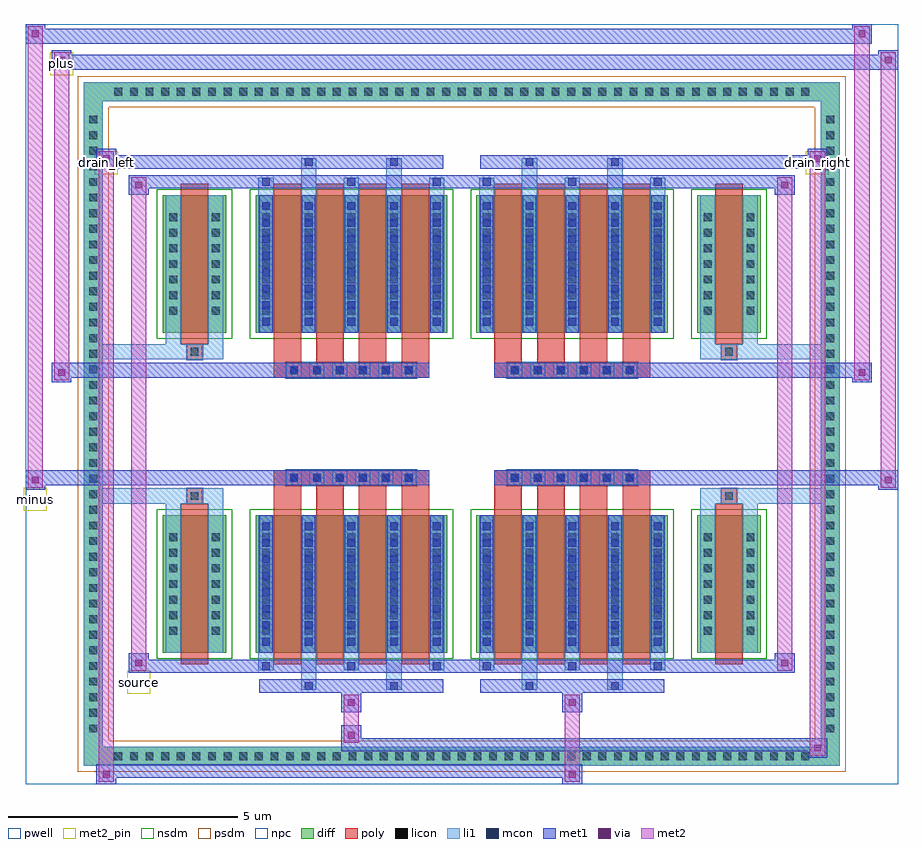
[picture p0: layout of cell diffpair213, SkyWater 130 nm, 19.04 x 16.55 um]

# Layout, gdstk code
import gdstk
lib = gdstk.Library(unit=1e-6, precision=5e-09)
def R(c, l, rs):  # rectangles x0, y0, x1, y1
    for r in rs: c.add(gdstk.rectangle(r[:2], r[2:], *l))
def A(c, l, x, y, w, h, nx, ny, dx, dy):  # array of equal rectangles
    R(c, l, [(x+i*dx, y+j*dy, x+i*dx+w, y+j*dy+h) for i in range(nx) for j in range(ny)])
def P(c, l, *ps):  # polygons
    for p in ps: c.add(gdstk.Polygon(p, *l))
pwell = (64, 44)
diff = (65, 20)
poly = (66, 20)
licon = (66, 44)
li1 = (67, 20)
mcon = (67, 44)
met1 = (68, 20)
via = (68, 44)
met2_pin = (69, 16)
met2 = (69, 20)
nsdm = (93, 44)
psdm = (94, 20)
npc = (95, 20)

diffpair213 = lib.new_cell('diffpair213')
R(diffpair213, pwell, [(-9.5,-7.84,9.5,8.71), (-6.82,-6.03,-0.01,-0.805), (0.01,-6.03,6.82,-0.805), (-6.82,0.805,-0.01,6.03), (0.01,0.805,6.82,6.03)])
A(diffpair213, diff, -7.685, -7.44, 0.41, 0.41, 45, 2, 0.34, 14.47)
A(diffpair213, diff, -8.23, -6.835, 0.41, 0.41, 1, 40, 0, 0.34)
A(diffpair213, diff, 7.82, -6.835, 0.41, 0.41, 1, 40, 0, 0.34)
R(diffpair213, diff, [(-7.685,-7.44,7.685,-7.03), (-8.23,-6.835,-7.82,6.835), (7.82,-6.835,8.23,6.835), (-6.51,-4.985,-5.13,-1.985), (-4.49,-4.985,-0.32,-1.985), (0.32,-4.985,4.49,-1.985), (5.13,-4.985,6.51,-1.985), (-6.51,1.985,-5.13,4.985), (-4.49,1.985,-0.32,4.985), (0.32,1.985,4.49,4.985), (5.13,1.985,6.51,4.985), (-7.685,7.03,7.685,7.44)])
P(diffpair213, diff, [(8.23,7.44),(-8.23,7.44),(-8.23,-7.03),(-7.82,-7.03),(-7.82,7.03),(7.82,7.03),(7.82,-7.03),(-7.82,-7.03),(-8.23,-7.03),(-8.23,-7.44),(8.23,-7.44)])
A(diffpair213, poly, -4.1, -5.235, 0.6, 3.5, 4, 2, 0.93, 6.97)
A(diffpair213, poly, 0.71, -5.235, 0.6, 3.5, 4, 2, 0.93, 6.97)
A(diffpair213, poly, -4.1, -1.735, 0.6, 0.4, 4, 2, 0.93, 3.07)
A(diffpair213, poly, 0.71, -1.735, 0.6, 0.4, 4, 2, 0.93, 3.07)
A(diffpair213, poly, -3.82, -1.335, 0.33, 0.33, 6, 2, 0.5, 2.34)
A(diffpair213, poly, 0.99, -1.335, 0.33, 0.33, 6, 2, 0.5, 2.34)
R(diffpair213, poly, [(-6.12,-5.235,-5.52,-1.735), (5.52,-5.235,6.12,-1.735), (-5.985,-1.735,-5.655,-1.405), (-5.985,-1.735,-5.655,-1.405), (5.655,-1.735,5.985,-1.405), (5.655,-1.735,5.985,-1.405), (-4.1,-1.335,-0.71,-1.005), (0.71,-1.335,4.1,-1.005), (-4.1,1.005,-0.71,1.335), (0.71,1.005,4.1,1.335), (-5.985,1.405,-5.655,1.735), (-5.985,1.405,-5.655,1.735), (5.655,1.405,5.985,1.735), (5.655,1.405,5.985,1.735), (-6.12,1.735,-5.52,5.235), (5.52,1.735,6.12,5.235)])
A(diffpair213, licon, -7.565, -7.32, 0.17, 0.17, 45, 2, 0.34, 14.47)
A(diffpair213, licon, -8.11, -6.715, 0.17, 0.17, 1, 40, 0, 0.34)
A(diffpair213, licon, 7.94, -6.715, 0.17, 0.17, 1, 40, 0, 0.34)
A(diffpair213, licon, -6.37, -4.59, 0.17, 0.17, 1, 7, 0, 0.34)
A(diffpair213, licon, -5.44, -4.59, 0.17, 0.17, 1, 7, 0, 0.34)
A(diffpair213, licon, -4.35, -4.59, 0.17, 0.17, 5, 7, 0.93, 0.34)
A(diffpair213, licon, 0.46, -4.59, 0.17, 0.17, 5, 7, 0.93, 0.34)
A(diffpair213, licon, 5.27, -4.59, 0.17, 0.17, 1, 7, 0, 0.34)
A(diffpair213, licon, 6.2, -4.59, 0.17, 0.17, 1, 7, 0, 0.34)
A(diffpair213, licon, -3.74, -1.255, 0.17, 0.17, 6, 2, 0.5, 2.34)
A(diffpair213, licon, 1.07, -1.255, 0.17, 0.17, 6, 2, 0.5, 2.34)
A(diffpair213, licon, -6.37, 2.38, 0.17, 0.17, 1, 7, 0, 0.34)
A(diffpair213, licon, -5.44, 2.38, 0.17, 0.17, 1, 7, 0, 0.34)
A(diffpair213, licon, -4.35, 2.38, 0.17, 0.17, 5, 7, 0.93, 0.34)
A(diffpair213, licon, 0.46, 2.38, 0.17, 0.17, 5, 7, 0.93, 0.34)
A(diffpair213, licon, 5.27, 2.38, 0.17, 0.17, 1, 7, 0, 0.34)
A(diffpair213, licon, 6.2, 2.38, 0.17, 0.17, 1, 7, 0, 0.34)
R(diffpair213, licon, [(-5.905,-1.655,-5.735,-1.485), (5.735,-1.655,5.905,-1.485), (-5.905,1.485,-5.735,1.655), (5.735,1.485,5.905,1.655)])
A(diffpair213, li1, -7.645, -7.4, 0.33, 0.33, 45, 2, 0.34, 14.47)
A(diffpair213, li1, -8.19, -6.795, 0.33, 0.33, 1, 40, 0, 0.34)
A(diffpair213, li1, 7.86, -6.795, 0.33, 0.33, 1, 40, 0, 0.34)
A(diffpair213, li1, -4.43, -5.36, 0.33, 0.375, 3, 2, 1.86, 10.345)
A(diffpair213, li1, -4.35, -5.36, 0.17, 0.17, 3, 2, 1.86, 10.55)
A(diffpair213, li1, 0.38, -5.36, 0.33, 0.375, 3, 2, 1.86, 10.345)
A(diffpair213, li1, 0.46, -5.36, 0.17, 0.17, 3, 2, 1.86, 10.55)
A(diffpair213, li1, -4.43, -4.985, 0.33, 3, 5, 2, 0.93, 6.97)
A(diffpair213, li1, 0.38, -4.985, 0.33, 3, 5, 2, 0.93, 6.97)
A(diffpair213, li1, -4.35, -4.83, 0.17, 0.17, 5, 8, 0.93, 0.36)
A(diffpair213, li1, -4.35, -4.83, 0.17, 2.69, 5, 2, 0.93, 6.97)
A(diffpair213, li1, 0.46, -4.83, 0.17, 0.17, 5, 8, 0.93, 0.36)
A(diffpair213, li1, 0.46, -4.83, 0.17, 2.69, 5, 2, 0.93, 6.97)
A(diffpair213, li1, -6.45, -4.67, 0.33, 0.33, 1, 7, 0, 0.34)
A(diffpair213, li1, -5.52, -4.67, 0.33, 0.33, 1, 7, 0, 0.34)
A(diffpair213, li1, -4.43, -4.67, 0.33, 0.33, 5, 7, 0.93, 0.34)
A(diffpair213, li1, 0.38, -4.67, 0.33, 0.33, 5, 7, 0.93, 0.34)
A(diffpair213, li1, 5.19, -4.67, 0.33, 0.33, 1, 7, 0, 0.34)
A(diffpair213, li1, 6.12, -4.67, 0.33, 0.33, 1, 7, 0, 0.34)
A(diffpair213, li1, -3.82, -1.335, 0.33, 0.33, 6, 2, 0.5, 2.34)
A(diffpair213, li1, 0.99, -1.335, 0.33, 0.33, 6, 2, 0.5, 2.34)
A(diffpair213, li1, -4.35, 2.14, 0.17, 0.17, 5, 8, 0.93, 0.36)
A(diffpair213, li1, 0.46, 2.14, 0.17, 0.17, 5, 8, 0.93, 0.36)
A(diffpair213, li1, -6.45, 2.3, 0.33, 0.33, 1, 7, 0, 0.34)
A(diffpair213, li1, -5.52, 2.3, 0.33, 0.33, 1, 7, 0, 0.34)
A(diffpair213, li1, -4.43, 2.3, 0.33, 0.33, 5, 7, 0.93, 0.34)
A(diffpair213, li1, 0.38, 2.3, 0.33, 0.33, 5, 7, 0.93, 0.34)
A(diffpair213, li1, 5.19, 2.3, 0.33, 0.33, 1, 7, 0, 0.34)
A(diffpair213, li1, 6.12, 2.3, 0.33, 0.33, 1, 7, 0, 0.34)
R(diffpair213, li1, [(-8.23,-7.44,-7.82,-7.03), (-8.23,-7.44,-7.82,-7.03), (-7.82,-7.44,7.82,-7.03), (7.82,-7.44,8.23,-7.03), (7.82,-7.44,8.23,-7.03), (-8.23,-7.03,-7.82,7.03), (7.82,-7.03,8.23,7.03), (-3.5,-5.79,-3.17,-4.985), (-3.42,-5.79,-3.25,-5.62), (-1.64,-5.79,-1.31,-4.985), (-1.56,-5.79,-1.39,-5.62), (1.31,-5.79,1.64,-4.985), (1.39,-5.79,1.56,-5.62), (3.17,-5.79,3.5,-4.985), (3.25,-5.79,3.42,-5.62), (-6.45,-4.985,-6.12,-1.985), (-5.52,-4.985,-5.19,-1.985), (5.19,-4.985,5.52,-1.985), (6.12,-4.985,6.45,-1.985), (-6.45,-1.985,-6.12,-1.405), (-5.52,-1.985,-5.19,-1.405), (5.19,-1.985,5.52,-1.405), (6.12,-1.985,6.45,-1.405), (-8.23,-1.735,-5.985,-1.405), (-6.45,-1.735,-5.985,-1.405), (-5.985,-1.735,-5.655,-1.405), (-5.655,-1.735,-5.19,-1.405), (5.19,-1.735,5.655,-1.405), (5.655,-1.735,5.985,-1.405), (5.655,-1.735,8.23,-1.405), (5.985,-1.735,6.45,-1.405), (-8.23,1.405,-5.985,1.735), (-6.45,1.405,-5.985,1.735), (-6.45,1.405,-6.12,1.985), (-5.985,1.405,-5.655,1.735), (-5.655,1.405,-5.19,1.735), (-5.52,1.405,-5.19,1.985), (5.19,1.405,5.655,1.735), (5.19,1.405,5.52,1.985), (5.655,1.405,5.985,1.735), (5.655,1.405,8.23,1.735), (5.985,1.405,6.45,1.735), (6.12,1.405,6.45,1.985), (-6.45,1.985,-6.12,4.985), (-5.52,1.985,-5.19,4.985), (5.19,1.985,5.52,4.985), (6.12,1.985,6.45,4.985), (-3.5,4.985,-3.17,5.79), (-1.64,4.985,-1.31,5.79), (1.31,4.985,1.64,5.79), (3.17,4.985,3.5,5.79), (-3.42,5.62,-3.25,5.79), (-1.56,5.62,-1.39,5.79), (1.39,5.62,1.56,5.79), (3.25,5.62,3.42,5.79), (-8.23,7.03,-7.82,7.44), (-8.23,7.03,-7.82,7.44), (-7.82,7.03,7.82,7.44), (7.82,7.03,8.23,7.44), (7.82,7.03,8.23,7.44)])
A(diffpair213, mcon, -4.35, -5.36, 0.17, 0.17, 3, 2, 1.86, 10.55)
A(diffpair213, mcon, 0.46, -5.36, 0.17, 0.17, 3, 2, 1.86, 10.55)
A(diffpair213, mcon, -4.35, -4.83, 0.17, 0.17, 5, 8, 0.93, 0.36)
A(diffpair213, mcon, 0.46, -4.83, 0.17, 0.17, 5, 8, 0.93, 0.36)
A(diffpair213, mcon, -3.74, -1.255, 0.17, 0.17, 6, 2, 0.5, 2.34)
A(diffpair213, mcon, 1.07, -1.255, 0.17, 0.17, 6, 2, 0.5, 2.34)
A(diffpair213, mcon, -4.35, 2.14, 0.17, 0.17, 5, 8, 0.93, 0.36)
A(diffpair213, mcon, 0.46, 2.14, 0.17, 0.17, 5, 8, 0.93, 0.36)
R(diffpair213, mcon, [(-3.42,-5.79,-3.25,-5.62), (-1.56,-5.79,-1.39,-5.62), (1.39,-5.79,1.56,-5.62), (3.25,-5.79,3.42,-5.62), (-3.42,5.62,-3.25,5.79), (-1.56,5.62,-1.39,5.79), (1.39,5.62,1.56,5.79), (3.25,5.62,3.42,5.79)])
A(diffpair213, met1, -4.41, -5.42, 0.29, 0.29, 3, 2, 1.86, 10.55)
A(diffpair213, met1, 0.4, -5.42, 0.29, 0.29, 3, 2, 1.86, 10.55)
A(diffpair213, met1, -4.41, -4.985, 0.29, 3, 5, 2, 0.93, 6.97)
A(diffpair213, met1, 0.4, -4.985, 0.29, 3, 5, 2, 0.93, 6.97)
A(diffpair213, met1, -4.41, -4.89, 0.29, 0.29, 5, 8, 0.93, 0.36)
A(diffpair213, met1, 0.4, -4.89, 0.29, 0.29, 5, 8, 0.93, 0.36)
A(diffpair213, met1, -3.8, -1.315, 0.29, 0.29, 6, 2, 0.5, 2.34)
A(diffpair213, met1, 1.01, -1.315, 0.29, 0.29, 6, 2, 0.5, 2.34)
A(diffpair213, met1, -4.41, 2.08, 0.29, 0.29, 5, 8, 0.93, 0.36)
A(diffpair213, met1, 0.4, 2.08, 0.29, 0.29, 5, 8, 0.93, 0.36)
R(diffpair213, met1, [(-7.96,-7.84,-7.53,-7.41), (2.19,-7.84,2.62,-7.41), (-7.96,-7.7,2.62,-7.41), (7.53,-7.27,7.96,-6.84), (-2.62,-7.13,7.96,-6.84), (-2.62,-6.99,-2.19,-6.56), (-2.62,-6.28,-2.19,-5.85), (2.19,-6.28,2.62,-5.85), (-4.41,-5.85,-0.4,-5.56), (-3.48,-5.85,-3.19,-5.56), (-1.62,-5.85,-1.33,-5.56), (0.4,-5.85,4.41,-5.56), (1.33,-5.85,1.62,-5.56), (3.19,-5.85,3.48,-5.56), (-7.25,-5.42,-6.82,-4.99), (-7.25,-5.42,-4.41,-5.13), (-4.41,-5.42,-0.4,-5.13), (-0.4,-5.42,0.4,-5.13), (0.4,-5.42,4.41,-5.13), (4.41,-5.42,7.25,-5.13), (6.82,-5.42,7.25,-4.99), (-9.5,-1.435,-9.07,-1.005), (9.07,-1.435,9.5,-1.005), (-9.5,-1.335,-0.71,-1.005), (-4.1,-1.335,-0.71,-1.005), (0.71,-1.335,4.1,-1.005), (0.71,-1.335,9.5,-1.005), (-8.93,0.905,-8.5,1.335), (8.5,0.905,8.93,1.335), (-8.93,1.005,-4.1,1.335), (-4.1,1.005,-0.71,1.335), (0.71,1.005,4.1,1.335), (4.1,1.005,8.93,1.335), (-7.25,4.99,-6.82,5.42), (6.82,4.99,7.25,5.42), (-7.25,5.13,-4.41,5.42), (-4.41,5.13,-0.4,5.42), (-0.4,5.13,0.4,5.42), (0.4,5.13,4.41,5.42), (4.41,5.13,7.25,5.42), (-7.96,5.56,-7.53,5.99), (-7.96,5.56,-4.41,5.85), (-4.41,5.56,-0.4,5.85), (-3.48,5.56,-3.19,5.85), (-1.62,5.56,-1.33,5.85), (0.4,5.56,4.41,5.85), (1.33,5.56,1.62,5.85), (3.19,5.56,3.48,5.85), (4.41,5.56,7.96,5.85), (7.53,5.56,7.96,5.99), (-8.93,7.71,-8.5,8.14), (-8.93,7.71,-6.82,8.04), (-6.82,7.71,6.82,8.04), (6.82,7.71,9.5,8.04), (9.07,7.71,9.5,8.14), (-9.5,8.28,-9.07,8.71), (-9.5,8.28,-6.82,8.61), (-6.82,8.28,6.82,8.61), (6.82,8.28,8.93,8.61), (8.5,8.28,8.93,8.71)])
R(diffpair213, via, [(-7.82,-7.7,-7.67,-7.55), (2.33,-7.7,2.48,-7.55), (7.67,-7.13,7.82,-6.98), (-2.48,-6.85,-2.33,-6.7), (-2.48,-6.14,-2.33,-5.99), (2.33,-6.14,2.48,-5.99), (-7.11,-5.28,-6.96,-5.13), (6.96,-5.28,7.11,-5.13), (-9.36,-1.295,-9.21,-1.145), (9.21,-1.295,9.36,-1.145), (-8.79,1.045,-8.64,1.195), (8.64,1.045,8.79,1.195), (-7.11,5.13,-6.96,5.28), (6.96,5.13,7.11,5.28), (-7.82,5.7,-7.67,5.85), (7.67,5.7,7.82,5.85), (-8.79,7.85,-8.64,8), (9.21,7.85,9.36,8), (-9.36,8.42,-9.21,8.57), (8.64,8.42,8.79,8.57)])
R(diffpair213, met2_pin, [(-7.285,-5.87,-6.785,-5.37), (-9.535,-1.885,-9.035,-1.385), (-7.995,5.44,-7.495,5.94), (7.495,5.44,7.995,5.94), (-8.965,7.59,-8.465,8.09)])
R(diffpair213, met2, [(-7.91,-7.79,-7.58,-7.46), (-7.91,-7.79,-7.58,5.94), (2.24,-7.79,2.57,-7.46), (2.24,-7.46,2.57,-6.23), (7.58,-7.22,7.91,-6.89), (7.58,-7.22,7.91,5.94), (-2.57,-6.94,-2.24,-6.61), (-2.57,-6.61,-2.24,-6.23), (-2.57,-6.23,-2.24,-5.9), (2.24,-6.23,2.57,-5.9), (-7.2,-5.37,-6.87,-5.04), (-7.2,-5.37,-6.87,5.37), (6.87,-5.37,7.2,-5.04), (6.87,-5.37,7.2,5.37), (-9.45,-1.385,-9.12,-1.055), (-9.45,-1.385,-9.12,8.66), (9.12,-1.385,9.45,-1.055), (9.12,-1.385,9.45,8.09), (-8.88,0.955,-8.55,1.285), (-8.88,0.955,-8.55,8.09), (8.55,0.955,8.88,1.285), (8.55,0.955,8.88,8.66), (-7.2,5.04,-6.87,5.37), (6.87,5.04,7.2,5.37), (-7.91,5.61,-7.58,5.94), (7.58,5.61,7.91,5.94), (-8.88,7.76,-8.55,8.09), (9.12,7.76,9.45,8.09), (-9.45,8.33,-9.12,8.66), (8.55,8.33,8.88,8.66)])
P(diffpair213, met2, [(9.45,-1.385),(9.45,-1.385),(9.45,-1.055),(9.45,-1.055)],
  [(9.45,7.76),(9.45,7.76),(9.45,8.09),(9.45,8.09)],
  [(-9.12,-1.385),(-9.12,-1.385),(-9.12,-1.055),(-9.12,-1.055)],
  [(-9.12,8.33),(-9.12,8.33),(-9.12,8.66),(-9.12,8.66)],
  [(8.88,0.955),(8.88,0.955),(8.88,1.285),(8.88,1.285)],
  [(8.88,8.33),(8.88,8.33),(8.88,8.66),(8.88,8.66)],
  [(-8.55,0.955),(-8.55,0.955),(-8.55,1.285),(-8.55,1.285)],
  [(-8.55,7.76),(-8.55,7.76),(-8.55,8.09),(-8.55,8.09)],
  [(-7.58,-7.79),(-7.58,-7.79),(-7.58,-7.46),(-7.58,-7.46)],
  [(-7.58,5.61),(-7.58,5.61),(-7.58,5.94),(-7.58,5.94)],
  [(7.91,-7.22),(7.91,-7.22),(7.91,-6.89),(7.91,-6.89)],
  [(7.91,5.61),(7.91,5.61),(7.91,5.94),(7.91,5.94)],
  [(-6.87,-5.37),(-6.87,-5.37),(-6.87,-5.04),(-6.87,-5.04)],
  [(-6.87,5.04),(-6.87,5.04),(-6.87,5.37),(-6.87,5.37)],
  [(7.2,-5.37),(7.2,-5.37),(7.2,-5.04),(7.2,-5.04)],
  [(7.2,5.04),(7.2,5.04),(7.2,5.37),(7.2,5.37)])
R(diffpair213, nsdm, [(-6.64,-5.115,-5,-1.855), (-4.62,-5.115,-0.19,-1.855), (0.19,-5.115,4.62,-1.855), (5,-5.115,6.64,-1.855), (-6.64,1.855,-5,5.115), (-4.62,1.855,-0.19,5.115), (0.19,1.855,4.62,5.115), (5,1.855,6.64,5.115)])
P(diffpair213, psdm, [(8.36,7.57),(-8.36,7.57),(-8.36,-6.9),(-7.69,-6.9),(-7.69,6.9),(7.69,6.9),(7.69,-6.9),(-7.69,-6.9),(-8.36,-6.9),(-8.36,-7.57),(8.36,-7.57)])
A(diffpair213, npc, -3.84, -1.355, 0.37, 0.37, 6, 2, 0.5, 2.34)
A(diffpair213, npc, 0.97, -1.355, 0.37, 0.37, 6, 2, 0.5, 2.34)
R(diffpair213, npc, [(-6.005,-1.755,-5.635,-1.385), (5.635,-1.755,6.005,-1.385), (-3.84,-1.355,-2.97,-0.985), (-3.84,-1.355,-2.97,-0.985), (-3.34,-1.355,-2.47,-0.985), (-3.34,-1.355,-2.47,-0.985), (-2.84,-1.355,-1.97,-0.985), (-2.84,-1.355,-1.97,-0.985), (-2.34,-1.355,-1.47,-0.985), (-2.34,-1.355,-1.47,-0.985), (-1.84,-1.355,-0.97,-0.985), (-1.84,-1.355,-0.97,-0.985), (0.97,-1.355,1.84,-0.985), (0.97,-1.355,1.84,-0.985), (1.47,-1.355,2.34,-0.985), (1.47,-1.355,2.34,-0.985), (1.97,-1.355,2.84,-0.985), (1.97,-1.355,2.84,-0.985), (2.47,-1.355,3.34,-0.985), (2.47,-1.355,3.34,-0.985), (2.97,-1.355,3.84,-0.985), (2.97,-1.355,3.84,-0.985), (-3.84,0.985,-2.97,1.355), (-3.84,0.985,-2.97,1.355), (-3.34,0.985,-2.47,1.355), (-3.34,0.985,-2.47,1.355), (-2.84,0.985,-1.97,1.355), (-2.84,0.985,-1.97,1.355), (-2.34,0.985,-1.47,1.355), (-2.34,0.985,-1.47,1.355), (-1.84,0.985,-0.97,1.355), (-1.84,0.985,-0.97,1.355), (0.97,0.985,1.84,1.355), (0.97,0.985,1.84,1.355), (1.47,0.985,2.34,1.355), (1.47,0.985,2.34,1.355), (1.97,0.985,2.84,1.355), (1.97,0.985,2.84,1.355), (2.47,0.985,3.34,1.355), (2.47,0.985,3.34,1.355), (2.97,0.985,3.84,1.355), (2.97,0.985,3.84,1.355), (-6.005,1.385,-5.635,1.755), (5.635,1.385,6.005,1.755)])
diffpair213.add(gdstk.Label('minus', (-9.285,-1.635), layer=69, texttype=5))
diffpair213.add(gdstk.Label('drain_right', (7.745,5.69), layer=69, texttype=5))
diffpair213.add(gdstk.Label('drain_left', (-7.745,5.69), layer=69, texttype=5))
diffpair213.add(gdstk.Label('source', (-7.035,-5.62), layer=69, texttype=5))
diffpair213.add(gdstk.Label('plus', (-8.715,7.84), layer=69, texttype=5))

lib.write_gds('diffpair213.gds')
